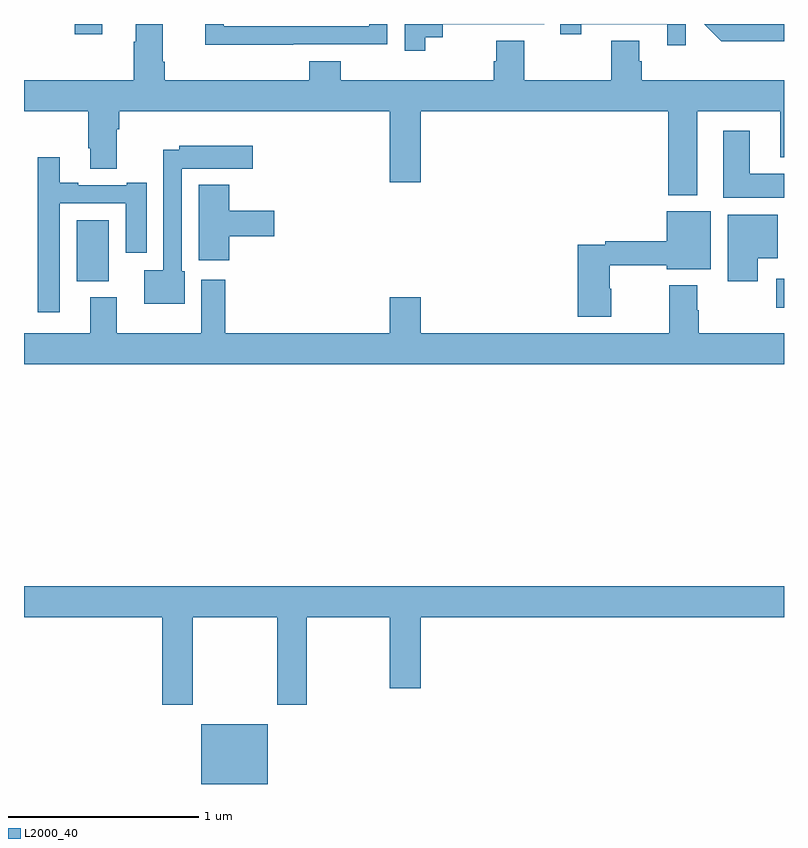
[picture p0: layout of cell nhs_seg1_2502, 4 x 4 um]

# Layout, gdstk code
import gdstk
lib = gdstk.Library(unit=1e-6, precision=1e-09)
def R(c, l, rs):  # rectangles x0, y0, x1, y1
    for r in rs: c.add(gdstk.rectangle(r[:2], r[2:], *l))
def P(c, l, *ps):  # polygons
    for p in ps: c.add(gdstk.Polygon(p, *l))
L2000_40 = (2000, 40)

nhs_seg1_2502 = lib.new_cell('nhs_seg1_2502')
R(nhs_seg1_2502, L2000_40, [(247.934,540.199,248.284,540.514), (250.959,542.705,251,542.857), (247.277,542.846,247.447,543.166), (247.268,544.146,247.411,544.199)])
P(nhs_seg1_2502, L2000_40, [(250.482,544.199),(249.823,544.199),(249.823,544.146),(249.934,544.146),(249.934,544.197),(250.385,544.197),(250.385,544.086),(250.482,544.086)],
  [(251,544.199),(250.579,544.199),(250.67,544.109),(251,544.109)],
  [(248.417,544.092),(248.913,544.092),(248.913,544.199),(248.817,544.199),(248.817,544.188),(248.052,544.188),(248.052,544.199),(247.954,544.199),(247.954,544.091),(248.417,544.091)],
  [(249.112,544.129),(249.204,544.129),(249.204,544.197),(249.738,544.197),(249.738,544.199),(249.003,544.199),(249.003,544.059),(249.112,544.059)],
  [(250.543,543.74),(250.979,543.74),(250.979,543.497),(251,543.497),(251,543.904),(250.25,543.904),(250.25,544.002),(250.237,544.002),(250.237,544.112),(250.09,544.112),(250.09,543.904),(249.633,543.904),(249.633,544.112),(249.485,544.112),(249.485,544.002),(249.473,544.002),(249.473,543.904),(248.666,543.904),(248.666,544.003),(248.501,544.003),(248.501,543.904),(247.742,543.904),(247.742,544),(247.729,544),(247.729,544.199),(247.589,544.199),(247.589,544.106),(247.577,544.106),(247.577,543.904),(247,543.904),(247,543.74),(247.337,543.74),(247.337,543.544),(247.349,543.544),(247.349,543.436),(247.489,543.436),(247.489,543.644),(247.502,543.644),(247.502,543.74),(248.924,543.74),(248.924,543.366),(249.088,543.366),(249.088,543.74),(250.391,543.74),(250.391,543.299),(250.543,543.299)],
  [(251,543.412),(250.819,543.412),(250.819,543.637),(250.679,543.637),(250.679,543.284),(251,543.284)],
  [(247.846,542.898),(247.83,542.898),(247.83,543.438),(247.927,543.438),(247.927,543.437),(248.203,543.437),(248.203,543.559),(247.818,543.559),(247.818,543.536),(247.734,543.536),(247.734,542.902),(247.634,542.902),(247.634,542.726),(247.846,542.726)],
  [(247.188,543.255),(247.535,543.255),(247.535,542.994),(247.645,542.994),(247.645,543.364),(247.541,543.364),(247.541,543.351),(247.285,543.351),(247.285,543.364),(247.189,543.364),(247.189,543.499),(247.072,543.499),(247.072,542.682),(247.188,542.682)],
  [(248.081,543.083),(248.317,543.083),(248.317,543.217),(248.081,543.217),(248.081,543.352),(247.919,543.352),(247.919,542.955),(248.081,542.955)],
  [(250.092,542.805),(250.084,542.805),(250.084,542.928),(250.382,542.928),(250.382,542.909),(250.615,542.909),(250.615,543.214),(250.382,543.214),(250.382,543.056),(250.06,543.056),(250.06,543.036),(249.914,543.036),(249.914,542.657),(250.092,542.657)],
  [(250.861,542.966),(250.966,542.966),(250.966,543.196),(250.703,543.196),(250.703,542.844),(250.861,542.844)],
  [(251,542.572),(250.551,542.572),(250.551,542.693),(250.543,542.693),(250.543,542.824),(250.396,542.824),(250.396,542.572),(249.088,542.572),(249.088,542.761),(248.924,542.761),(248.924,542.572),(248.06,542.572),(248.06,542.854),(247.934,542.854),(247.934,542.572),(247.489,542.572),(247.489,542.761),(247.349,542.761),(247.349,542.572),(247,542.572),(247,542.408),(251,542.408)],
  [(247,541.076),(247.727,541.076),(247.727,540.615),(247.887,540.615),(247.887,541.076),(248.332,541.076),(248.332,540.615),(248.487,540.615),(248.487,541.076),(248.924,541.076),(248.924,540.702),(249.088,540.702),(249.088,541.076),(251,541.076),(251,541.24),(247,541.24)])

lib.write_gds('nhs_seg1_2502.gds')
